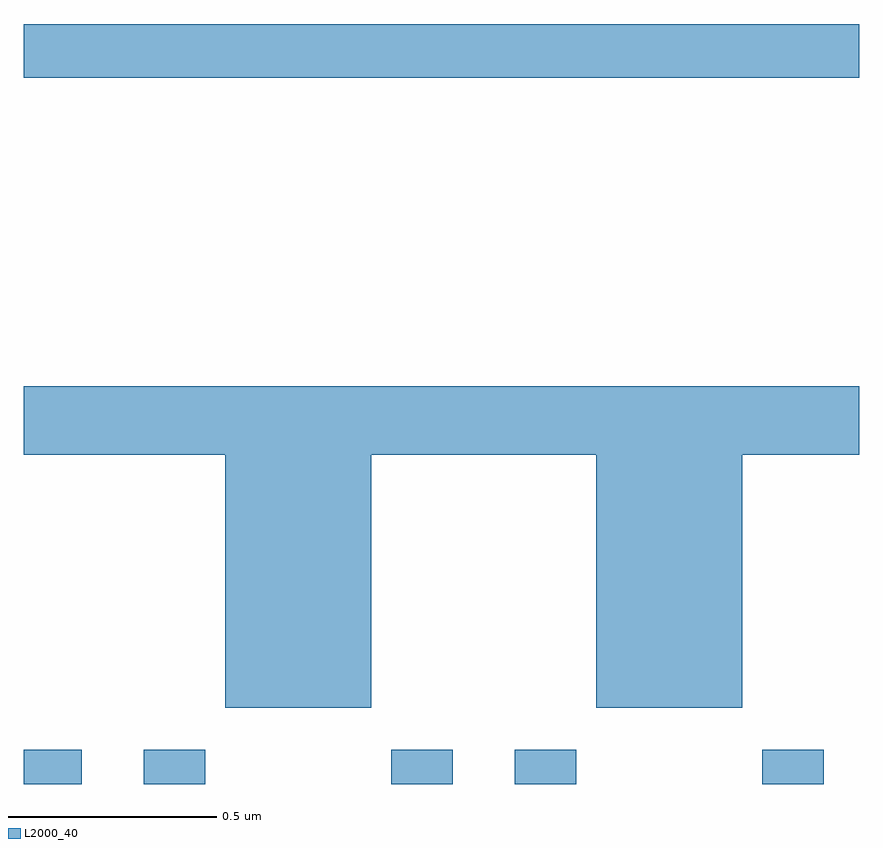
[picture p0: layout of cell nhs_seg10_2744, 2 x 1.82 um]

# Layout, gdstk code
import gdstk
lib = gdstk.Library(unit=1e-6, precision=1e-09)
def R(c, l, rs):  # rectangles x0, y0, x1, y1
    for r in rs: c.add(gdstk.rectangle(r[:2], r[2:], *l))
def P(c, l, *ps):  # polygons
    for p in ps: c.add(gdstk.Polygon(p, *l))
L2000_40 = (2000, 40)

nhs_seg10_2744 = lib.new_cell('nhs_seg10_2744')
R(nhs_seg10_2744, L2000_40, [(144,1327.5,144.139,1327.582), (144.287,1327.5,144.435,1327.582), (144.88,1327.5,145.027,1327.582), (145.175,1327.5,145.323,1327.582), (145.768,1327.5,145.915,1327.582), (144,1329.19,146,1329.319)])
P(nhs_seg10_2744, L2000_40, [(144.832,1328.288),(145.37,1328.288),(145.37,1327.682),(145.72,1327.682),(145.72,1328.288),(146,1328.288),(146,1328.452),(144,1328.452),(144,1328.288),(144.482,1328.288),(144.482,1327.682),(144.832,1327.682)])

lib.write_gds('nhs_seg10_2744.gds')
